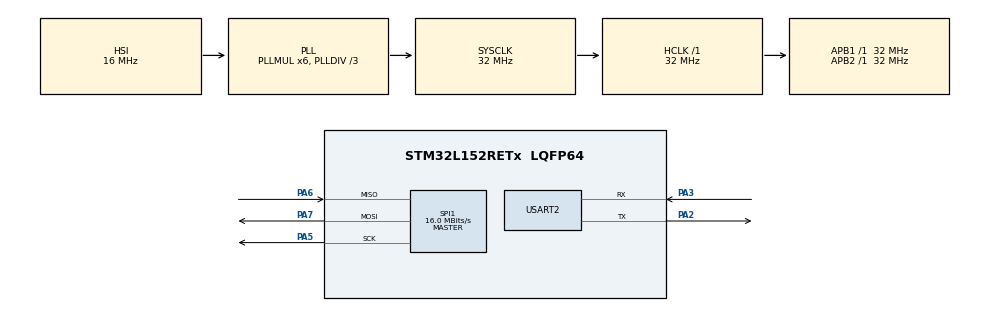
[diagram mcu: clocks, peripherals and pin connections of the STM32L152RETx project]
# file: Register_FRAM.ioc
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Mcu.Family=STM32L1
Mcu.Name=STM32L152RETx
Mcu.Package=LQFP64
NVIC.PriorityGroup=NVIC_PRIORITYGROUP_0
PA2.Mode=Asynchronous
PA2.Signal=USART2_TX
PA3.Mode=Asynchronous
PA3.Signal=USART2_RX
PA5.Mode=Full_Duplex_Master
PA5.Signal=SPI1_SCK
PA6.Mode=Full_Duplex_Master
PA6.Signal=SPI1_MISO
PA7.Mode=Full_Duplex_Master
PA7.Signal=SPI1_MOSI
ProjectManager.HeapSize=0x200
ProjectManager.StackSize=0x400
ProjectManager.TargetToolchain=MDK-ARM V5
RCC.48MHZClocksFreq_Value=48000000
RCC.AHBFreq_Value=32000000
RCC.APB1Freq_Value=32000000
RCC.APB1TimFreq_Value=32000000
RCC.APB2Freq_Value=32000000
RCC.APB2TimFreq_Value=32000000
RCC.HCLKFreq_Value=32000000
RCC.HSE_VALUE=8000000
RCC.HSI_VALUE=16000000
RCC.MSI_VALUE=2097000
RCC.PLLDIV=RCC_PLL_DIV3
RCC.PLLMUL=RCC_PLL_MUL6
RCC.RTCClockSelectionVirtual=RCC_RTCCLKSOURCE_LSE
RCC.SYSCLKFreq_VALUE=32000000
RCC.SYSCLKSource=RCC_SYSCLKSOURCE_PLLCLK
RCC.USBOutput=48000000
RCC.VCOOutputFreq_Value=96000000
SPI1.CalculateBaudRate=16.0 MBits/s
SPI1.Direction=SPI_DIRECTION_2LINES
SPI1.Mode=SPI_MODE_MASTER
SPI1.VirtualType=VM_MASTER
USART2.VirtualMode=VM_ASYNC
board=NUCLEO-L152RE

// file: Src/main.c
/* USER CODE BEGIN Header */
/**
  ******************************************************************************
  * @file           : main.c
  * @brief          : Main program body
  ******************************************************************************
  ** This notice applies to any and all portions of this file
  * that are not between comment pairs USER CODE BEGIN and
  * USER CODE END. Other portions of this file, whether
  * inserted by the user or by software development tools
  * are owned by their respective copyright owners.
  *
  * COPYRIGHT(c) 2019 STMicroelectronics
  *
  * Redistribution and use in source and binary forms, with or without modification,
  * are permitted provided that the following conditions are met:
  *   1. Redistributions of source code must retain the above copyright notice,
  *      this list of conditions and the following disclaimer.
  *   2. Redistributions in binary form must reproduce the above copyright notice,
  *      this list of conditions and the following disclaimer in the documentation
  *      and/or other materials provided with the distribution.
  *   3. Neither the name of STMicroelectronics nor the names of its contributors
  *      may be used to endorse or promote products derived from this software
  *      without specific prior written permission.
  *
  * THIS SOFTWARE IS PROVIDED BY THE COPYRIGHT HOLDERS AND CONTRIBUTORS "AS IS"
  * AND ANY EXPRESS OR IMPLIED WARRANTIES, INCLUDING, BUT NOT LIMITED TO, THE
  * IMPLIED WARRANTIES OF MERCHANTABILITY AND FITNESS FOR A PARTICULAR PURPOSE ARE
  * DISCLAIMED. IN NO EVENT SHALL THE COPYRIGHT HOLDER OR CONTRIBUTORS BE LIABLE
  * FOR ANY DIRECT, INDIRECT, INCIDENTAL, SPECIAL, EXEMPLARY, OR CONSEQUENTIAL
  * DAMAGES (INCLUDING, BUT NOT LIMITED TO, PROCUREMENT OF SUBSTITUTE GOODS OR
  * SERVICES; LOSS OF USE, DATA, OR PROFITS; OR BUSINESS INTERRUPTION) HOWEVER
  * CAUSED AND ON ANY THEORY OF LIABILITY, WHETHER IN CONTRACT, STRICT LIABILITY,
  * OR TORT (INCLUDING NEGLIGENCE OR OTHERWISE) ARISING IN ANY WAY OUT OF THE USE
  * OF THIS SOFTWARE, EVEN IF ADVISED OF THE POSSIBILITY OF SUCH DAMAGE.
  *
  ******************************************************************************
  */
/* USER CODE END Header */

#include "main.h"

/* USER CODE BEGIN Includes */

#include "string.h"

/* USER CODE END Includes */

SPI_HandleTypeDef hspi1;

UART_HandleTypeDef huart2;

void SystemClock_Config(void);
static void MX_GPIO_Init(void);
static void MX_SPI1_Init(void);
static void MX_USART2_UART_Init(void);

int main(void)
{

  /* MCU Configuration--------------------------------------------------------*/

  /* Reset of all peripherals, Initializes the Flash interface and the Systick. */
  HAL_Init();

  /* Configure the system clock */
  SystemClock_Config();

  /* Initialize all configured peripherals */
  MX_GPIO_Init();
  MX_SPI1_Init();
  MX_USART2_UART_Init();
  /* USER CODE BEGIN 2 */

	unsigned char SUCCESS[] = "Success\n";
	unsigned char ERROR[] = "Fail\n";
	uint8_t data[1] = {0};
	uint8_t correct = 0;
	uint8_t StrOut[30];

	uint8_t i =0;

	//Clear Data
	for(i=0; i<100; i++){
		data[0] = 0;
		if( HAL_SPI_Transmit(&hspi1, data, 1, 5) != HAL_OK){
			HAL_UART_Transmit(&huart2,ERROR,strlen(ERROR),10);
		}
	}

	//Enter Data
	for(i=0; i<100; i++){
		data[0] = i;
		if( HAL_SPI_Transmit(&hspi1, data, 1, 5) != HAL_OK){
			HAL_UART_Transmit(&huart2,ERROR,strlen(ERROR),10);
		}
		else{
			//HAL_UART_Transmit(&huart2,SUCCESS,strlen(SUCCESS),10);
		}
		//HAL_Delay(100);
	}

	for(i=0; i<100; i++){
		//data[0] = i;
//		if( HAL_SPI_Receive(&hspi1, data, 1, 5) != HAL_OK){
		if( HAL_SPI_TransmitReceive(&hspi1, &i, data, 1, 5) != HAL_OK){
		HAL_UART_Transmit(&huart2,ERROR,strlen(ERROR),10);
		}
		else{
			sprintf(StrOut,"%2d : %2d\n",i, data[0]);
			HAL_UART_Transmit(&huart2,StrOut,strlen(StrOut),10);

			if(data[0] == i){
				correct++;
			}

		}
		//HAL_Delay(100);
	}

	sprintf(StrOut,"%\n  %d / %d  correct\n",correct, i);
	HAL_UART_Transmit(&huart2,StrOut,strlen(StrOut),10);

  /* USER CODE END 2 */

  /* Infinite loop */
  while (1)
  {

  }
}

void SystemClock_Config(void)
{
  RCC_OscInitTypeDef RCC_OscInitStruct = {0};
  RCC_ClkInitTypeDef RCC_ClkInitStruct = {0};

  /**Configure the main internal regulator output voltage
  */
  __HAL_PWR_VOLTAGESCALING_CONFIG(PWR_REGULATOR_VOLTAGE_SCALE1);
  /**Initializes the CPU, AHB and APB busses clocks
  */
  RCC_OscInitStruct.OscillatorType = RCC_OSCILLATORTYPE_HSI;
  RCC_OscInitStruct.HSIState = RCC_HSI_ON;
  RCC_OscInitStruct.HSICalibrationValue = RCC_HSICALIBRATION_DEFAULT;
  RCC_OscInitStruct.PLL.PLLState = RCC_PLL_ON;
  RCC_OscInitStruct.PLL.PLLSource = RCC_PLLSOURCE_HSI;
  RCC_OscInitStruct.PLL.PLLMUL = RCC_PLL_MUL6;
  RCC_OscInitStruct.PLL.PLLDIV = RCC_PLL_DIV3;
  if (HAL_RCC_OscConfig(&RCC_OscInitStruct) != HAL_OK)
  {
    Error_Handler();
  }
  /**Initializes the CPU, AHB and APB busses clocks
  */
  RCC_ClkInitStruct.ClockType = RCC_CLOCKTYPE_HCLK|RCC_CLOCKTYPE_SYSCLK
                              |RCC_CLOCKTYPE_PCLK1|RCC_CLOCKTYPE_PCLK2;
  RCC_ClkInitStruct.SYSCLKSource = RCC_SYSCLKSOURCE_PLLCLK;
  RCC_ClkInitStruct.AHBCLKDivider = RCC_SYSCLK_DIV1;
  RCC_ClkInitStruct.APB1CLKDivider = RCC_HCLK_DIV1;
  RCC_ClkInitStruct.APB2CLKDivider = RCC_HCLK_DIV1;

  if (HAL_RCC_ClockConfig(&RCC_ClkInitStruct, FLASH_LATENCY_1) != HAL_OK)
  {
    Error_Handler();
  }
}

static void MX_SPI1_Init(void)
{

  /* SPI1 parameter configuration*/
  hspi1.Instance = SPI1;
  hspi1.Init.Mode = SPI_MODE_MASTER;
  hspi1.Init.Direction = SPI_DIRECTION_2LINES;
  hspi1.Init.DataSize = SPI_DATASIZE_8BIT;
  hspi1.Init.CLKPolarity = SPI_POLARITY_LOW;
  hspi1.Init.CLKPhase = SPI_PHASE_1EDGE;
  hspi1.Init.NSS = SPI_NSS_SOFT;
  hspi1.Init.BaudRatePrescaler = SPI_BAUDRATEPRESCALER_2;
  hspi1.Init.FirstBit = SPI_FIRSTBIT_MSB;
  hspi1.Init.TIMode = SPI_TIMODE_DISABLE;
  hspi1.Init.CRCCalculation = SPI_CRCCALCULATION_DISABLE;
  hspi1.Init.CRCPolynomial = 10;
  if (HAL_SPI_Init(&hspi1) != HAL_OK)
  {
    Error_Handler();
  }

}

static void MX_USART2_UART_Init(void)
{

  huart2.Instance = USART2;
  huart2.Init.BaudRate = 115200;
  huart2.Init.WordLength = UART_WORDLENGTH_8B;
  huart2.Init.StopBits = UART_STOPBITS_1;
  huart2.Init.Parity = UART_PARITY_NONE;
  huart2.Init.Mode = UART_MODE_TX_RX;
  huart2.Init.HwFlowCtl = UART_HWCONTROL_NONE;
  huart2.Init.OverSampling = UART_OVERSAMPLING_16;
  if (HAL_UART_Init(&huart2) != HAL_OK)
  {
    Error_Handler();
  }

}

static void MX_GPIO_Init(void)
{

  /* GPIO Ports Clock Enable */
  __HAL_RCC_GPIOA_CLK_ENABLE();

}

void Error_Handler(void)
{
}

/************************ (C) COPYRIGHT STMicroelectronics *****END OF FILE****/
